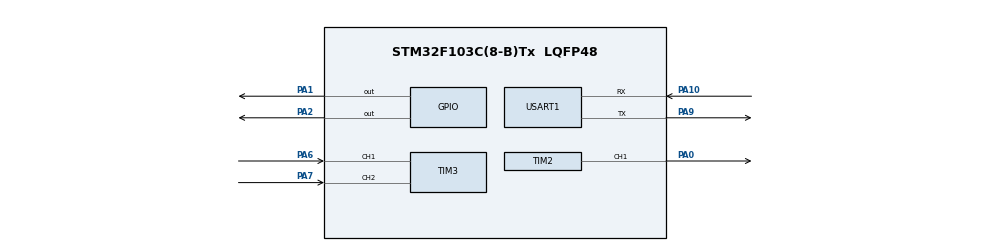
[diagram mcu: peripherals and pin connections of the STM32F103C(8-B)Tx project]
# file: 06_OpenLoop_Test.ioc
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Mcu.Family=STM32F1
Mcu.Name=STM32F103C(8-B)Tx
Mcu.Package=LQFP48
NVIC.PriorityGroup=NVIC_PRIORITYGROUP_4
PA0-WKUP.Signal=S_TIM2_CH1_ETR
PA1.Signal=GPIO_Output
PA10.Mode=Asynchronous
PA10.Signal=USART1_RX
PA13.Mode=Serial_Wire
PA13.Signal=SYS_JTMS-SWDIO
PA14.Mode=Serial_Wire
PA14.Signal=SYS_JTCK-SWCLK
PA2.Signal=GPIO_Output
PA6.Signal=S_TIM3_CH1
PA7.Signal=S_TIM3_CH2
PA9.Mode=Asynchronous
PA9.Signal=USART1_TX
ProjectManager.HeapSize=0x200
ProjectManager.StackSize=0x400
ProjectManager.TargetToolchain=STM32CubeIDE
RCC.APB1Freq_Value=8000000
RCC.APB2Freq_Value=8000000
SH.S_TIM2_CH1_ETR.0=TIM2_CH1,PWM Generation1 CH1
SH.S_TIM3_CH1.0=TIM3_CH1,Encoder_Interface
SH.S_TIM3_CH2.0=TIM3_CH2,Encoder_Interface
TIM2.Channel-PWM\ Generation1\ CH1=TIM_CHANNEL_1
TIM2.Period=999
TIM2.Prescaler=71
USART1.VirtualMode=VM_ASYNC
board=custom

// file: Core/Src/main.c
/* USER CODE BEGIN Header */
/**
  ******************************************************************************
  * @file           : main.c
  * @brief          : Main program body
  ******************************************************************************
  */
/* USER CODE END Header */
#include "main.h"

/* USER CODE BEGIN Includes */
#include <stdio.h>
#include <string.h>
/* USER CODE END Includes */

/* USER CODE BEGIN PD */
#define PULSES_PER_REV 836.0f
/* USER CODE END PD */

TIM_HandleTypeDef htim2;
TIM_HandleTypeDef htim3;

UART_HandleTypeDef huart1;

void SystemClock_Config(void);
static void MX_GPIO_Init(void);
static void MX_TIM2_Init(void);
static void MX_TIM3_Init(void);
static void MX_USART1_UART_Init(void);

int main(void)
{

  /* MCU Configuration--------------------------------------------------------*/

  /* Reset of all peripherals, Initializes the Flash interface and the Systick. */
  HAL_Init();

  /* Configure the system clock */
  SystemClock_Config();

  /* Initialize all configured peripherals */
  MX_GPIO_Init();
  MX_TIM2_Init();
  MX_TIM3_Init();
  MX_USART1_UART_Init();
  /* USER CODE BEGIN 2 */
  HAL_TIM_Encoder_Start(&htim3, TIM_CHANNEL_ALL);
  HAL_TIM_PWM_Start(&htim2, TIM_CHANNEL_1);

  // 设置方向：正转
  HAL_GPIO_WritePin(GPIOA, GPIO_PIN_1, GPIO_PIN_SET);
  HAL_GPIO_WritePin(GPIOA, GPIO_PIN_2, GPIO_PIN_RESET);

  // 固定65%占空比（开环，无PID）
  __HAL_TIM_SET_COMPARE(&htim2, TIM_CHANNEL_1, 650);

  char *msg = "OpenLoop Test (No PID)\r\n";
  HAL_UART_Transmit(&huart1, (uint8_t*)msg, strlen(msg), HAL_MAX_DELAY);
  /* USER CODE END 2 */

  /* Infinite loop */
  while (1)
  {

    /* USER CODE BEGIN 3 */
    // 每500ms读取并打印一次转速
    static int32_t last_count = 0;
    int32_t now_count = __HAL_TIM_GET_COUNTER(&htim3);
    int32_t delta = now_count - last_count;
    last_count = now_count;

    float rpm = (float)delta * 6000.0f / PULSES_PER_REV;
    int32_t a_int = (int32_t)(rpm * 10);
    char buf[40];
    int len = sprintf(buf, "OpenLoop RPM: %ld.%ld\r\n", a_int/10, (a_int<0 ? -a_int : a_int)%10);
    HAL_UART_Transmit(&huart1, (uint8_t*)buf, len, HAL_MAX_DELAY);

    HAL_Delay(500);
  /* USER CODE END 3 */
}

void SystemClock_Config(void)
{
  RCC_OscInitTypeDef RCC_OscInitStruct = {0};
  RCC_ClkInitTypeDef RCC_ClkInitStruct = {0};

  /** Initializes the RCC Oscillators according to the specified parameters
  * in the RCC_OscInitTypeDef structure.
  */
  RCC_OscInitStruct.OscillatorType = RCC_OSCILLATORTYPE_HSI;
  RCC_OscInitStruct.HSIState = RCC_HSI_ON;
  RCC_OscInitStruct.HSICalibrationValue = RCC_HSICALIBRATION_DEFAULT;
  RCC_OscInitStruct.PLL.PLLState = RCC_PLL_NONE;
  if (HAL_RCC_OscConfig(&RCC_OscInitStruct) != HAL_OK)
  {
    Error_Handler();
  }

  /** Initializes the CPU, AHB and APB buses clocks
  */
  RCC_ClkInitStruct.ClockType = RCC_CLOCKTYPE_HCLK|RCC_CLOCKTYPE_SYSCLK
                              |RCC_CLOCKTYPE_PCLK1|RCC_CLOCKTYPE_PCLK2;
  RCC_ClkInitStruct.SYSCLKSource = RCC_SYSCLKSOURCE_HSI;
  RCC_ClkInitStruct.AHBCLKDivider = RCC_SYSCLK_DIV1;
  RCC_ClkInitStruct.APB1CLKDivider = RCC_HCLK_DIV1;
  RCC_ClkInitStruct.APB2CLKDivider = RCC_HCLK_DIV1;

  if (HAL_RCC_ClockConfig(&RCC_ClkInitStruct, FLASH_LATENCY_0) != HAL_OK)
  {
    Error_Handler();
  }
}

static void MX_TIM2_Init(void)
{

  TIM_MasterConfigTypeDef sMasterConfig = {0};
  TIM_OC_InitTypeDef sConfigOC = {0};

  htim2.Instance = TIM2;
  htim2.Init.Prescaler = 71;
  htim2.Init.CounterMode = TIM_COUNTERMODE_UP;
  htim2.Init.Period = 999;
  htim2.Init.ClockDivision = TIM_CLOCKDIVISION_DIV1;
  htim2.Init.AutoReloadPreload = TIM_AUTORELOAD_PRELOAD_DISABLE;
  if (HAL_TIM_PWM_Init(&htim2) != HAL_OK)
  {
    Error_Handler();
  }
  sMasterConfig.MasterOutputTrigger = TIM_TRGO_RESET;
  sMasterConfig.MasterSlaveMode = TIM_MASTERSLAVEMODE_DISABLE;
  if (HAL_TIMEx_MasterConfigSynchronization(&htim2, &sMasterConfig) != HAL_OK)
  {
    Error_Handler();
  }
  sConfigOC.OCMode = TIM_OCMODE_PWM1;
  sConfigOC.Pulse = 0;
  sConfigOC.OCPolarity = TIM_OCPOLARITY_HIGH;
  sConfigOC.OCFastMode = TIM_OCFAST_DISABLE;
  if (HAL_TIM_PWM_ConfigChannel(&htim2, &sConfigOC, TIM_CHANNEL_1) != HAL_OK)
  {
    Error_Handler();
  }
  HAL_TIM_MspPostInit(&htim2);

}

static void MX_TIM3_Init(void)
{

  TIM_Encoder_InitTypeDef sConfig = {0};
  TIM_MasterConfigTypeDef sMasterConfig = {0};

  htim3.Instance = TIM3;
  htim3.Init.Prescaler = 0;
  htim3.Init.CounterMode = TIM_COUNTERMODE_UP;
  htim3.Init.Period = 65535;
  htim3.Init.ClockDivision = TIM_CLOCKDIVISION_DIV1;
  htim3.Init.AutoReloadPreload = TIM_AUTORELOAD_PRELOAD_DISABLE;
  sConfig.EncoderMode = TIM_ENCODERMODE_TI1;
  sConfig.IC1Polarity = TIM_ICPOLARITY_RISING;
  sConfig.IC1Selection = TIM_ICSELECTION_DIRECTTI;
  sConfig.IC1Prescaler = TIM_ICPSC_DIV1;
  sConfig.IC1Filter = 0;
  sConfig.IC2Polarity = TIM_ICPOLARITY_RISING;
  sConfig.IC2Selection = TIM_ICSELECTION_DIRECTTI;
  sConfig.IC2Prescaler = TIM_ICPSC_DIV1;
  sConfig.IC2Filter = 0;
  if (HAL_TIM_Encoder_Init(&htim3, &sConfig) != HAL_OK)
  {
    Error_Handler();
  }
  sMasterConfig.MasterOutputTrigger = TIM_TRGO_RESET;
  sMasterConfig.MasterSlaveMode = TIM_MASTERSLAVEMODE_DISABLE;
  if (HAL_TIMEx_MasterConfigSynchronization(&htim3, &sMasterConfig) != HAL_OK)
  {
    Error_Handler();
  }

}

static void MX_USART1_UART_Init(void)
{

  huart1.Instance = USART1;
  huart1.Init.BaudRate = 115200;
  huart1.Init.WordLength = UART_WORDLENGTH_8B;
  huart1.Init.StopBits = UART_STOPBITS_1;
  huart1.Init.Parity = UART_PARITY_NONE;
  huart1.Init.Mode = UART_MODE_TX_RX;
  huart1.Init.HwFlowCtl = UART_HWCONTROL_NONE;
  huart1.Init.OverSampling = UART_OVERSAMPLING_16;
  if (HAL_UART_Init(&huart1) != HAL_OK)
  {
    Error_Handler();
  }

}

static void MX_GPIO_Init(void)
{
  GPIO_InitTypeDef GPIO_InitStruct = {0};

  /* GPIO Ports Clock Enable */
  __HAL_RCC_GPIOA_CLK_ENABLE();

  /*Configure GPIO pin Output Level */
  HAL_GPIO_WritePin(GPIOA, GPIO_PIN_1|GPIO_PIN_2, GPIO_PIN_RESET);

  /*Configure GPIO pins : PA1 PA2 */
  GPIO_InitStruct.Pin = GPIO_PIN_1|GPIO_PIN_2;
  GPIO_InitStruct.Mode = GPIO_MODE_OUTPUT_PP;
  GPIO_InitStruct.Pull = GPIO_NOPULL;
  GPIO_InitStruct.Speed = GPIO_SPEED_FREQ_LOW;
  HAL_GPIO_Init(GPIOA, &GPIO_InitStruct);

}

void Error_Handler(void)
{
  __disable_irq();
  while (1)
  {
  }
}
